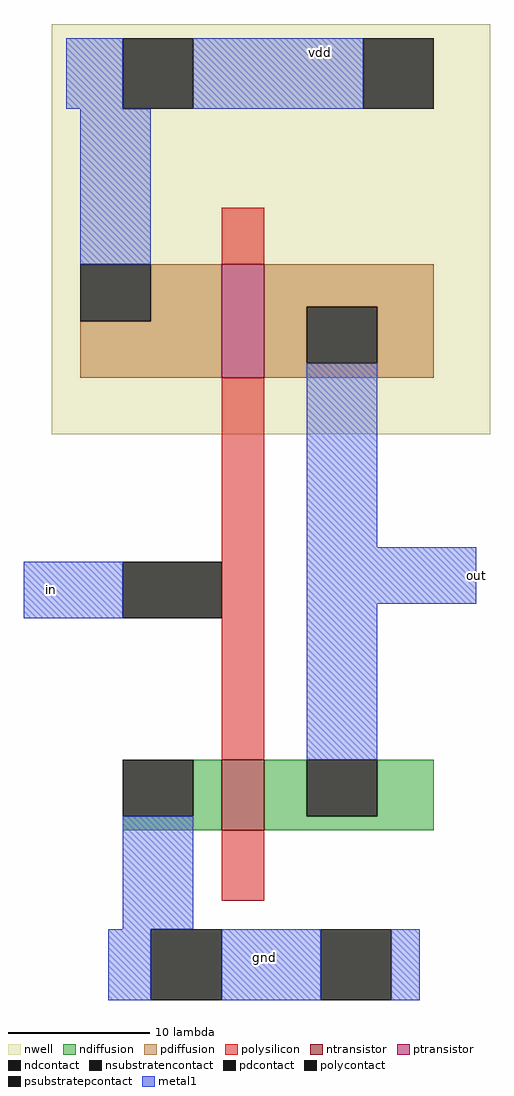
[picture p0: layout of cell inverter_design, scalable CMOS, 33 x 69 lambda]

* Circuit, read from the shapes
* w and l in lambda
.subckt inverter_design gnd in out vdd
M1 out in gnd gnd nfet w=5 l=3
M2 out in vdd vdd pfet w=8 l=3
.ends

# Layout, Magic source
magic
tech scmos
<< nwell >>
rect -22 13 9 42
<< polysilicon >>
rect -10 25 -7 29
rect -10 -10 -7 17
rect -10 -20 -7 -15
<< ndiffusion >>
rect -12 -14 -10 -10
rect -17 -15 -10 -14
rect -7 -14 -4 -10
rect 1 -14 5 -10
rect -7 -15 5 -14
<< pdiffusion >>
rect -15 21 -10 25
rect -20 17 -10 21
rect -7 22 5 25
rect -7 18 -4 22
rect 1 18 5 22
rect -7 17 5 18
<< metal1 >>
rect -21 36 -17 41
rect -12 36 0 41
rect -20 25 -15 36
rect -4 5 1 18
rect -24 0 -17 4
rect -4 1 8 5
rect -4 -10 1 1
rect -17 -22 -12 -14
rect -18 -27 -15 -22
rect -10 -27 -3 -22
rect 2 -27 4 -22
<< ntransistor >>
rect -10 -15 -7 -10
<< ptransistor >>
rect -10 17 -7 25
<< polycontact >>
rect -17 0 -10 4
<< ndcontact >>
rect -17 -14 -12 -10
rect -4 -14 1 -10
<< pdcontact >>
rect -20 21 -15 25
rect -4 18 1 22
<< psubstratepcontact >>
rect -15 -27 -10 -22
rect -3 -27 2 -22
<< nsubstratencontact >>
rect -17 36 -12 41
rect 0 36 5 41
<< labels >>
rlabel metal1 -7 -24 -7 -24 1 gnd
rlabel metal1 8 3 8 3 7 out
rlabel metal1 -3 40 -3 40 5 vdd
rlabel metal1 -22 2 -22 2 3 in
<< end >>
